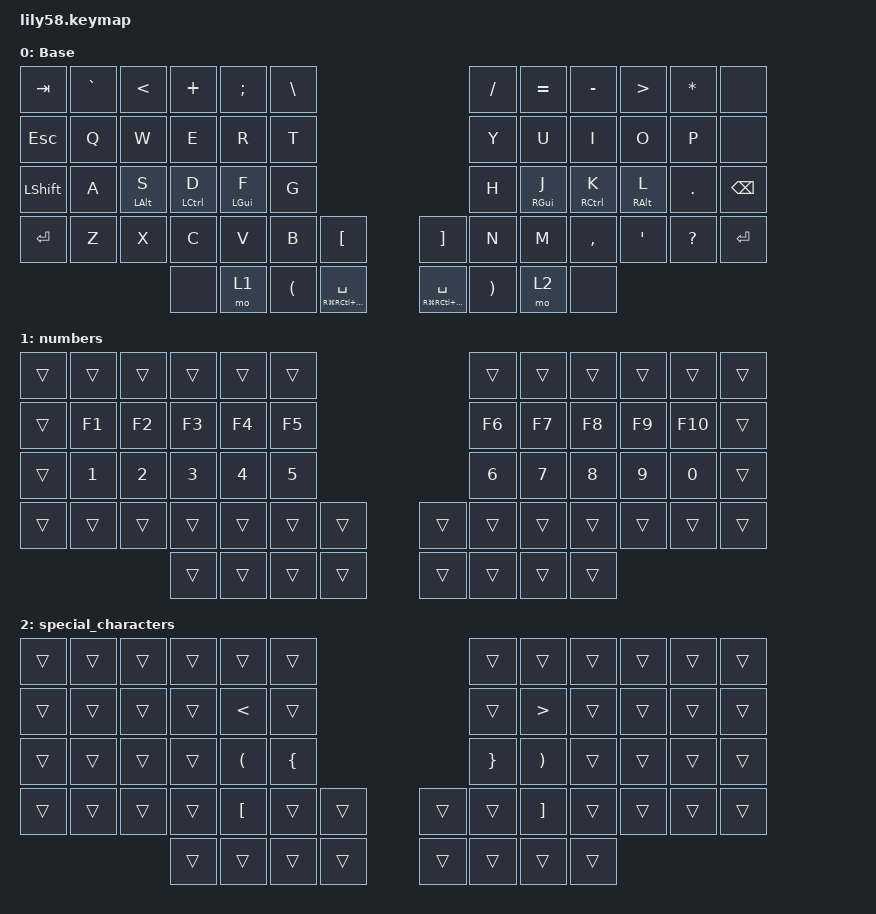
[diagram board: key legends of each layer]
/*
 * Copyright (c) 2020 The ZMK Contributors
 *
 * SPDX-License-Identifier: MIT
 */

#include <behaviors.dtsi>
#include <dt-bindings/zmk/keys.h>

/ {
    combos { compatible = "zmk,combos"; };

    behaviors {
        lpht: lpht {
            compatible = "zmk,behavior-hold-tap";
            label = "LPHT";
            bindings = <&kp>, <&kp>;

            #binding-cells = <2>;
            tapping-term-ms = <200>;
            flavor = "tap-preferred";
            retro-tap;
            hold-trigger-key-positions = <30 31 33 34 35 43 44 45 46 47 48 49 54 55 56 57 6 7 8 9 10 11 18 19 20 21 22 23 30 31 32 33 34 35 43 44 45 46 47 48 49 54 55 56 57>;
        };

        rpht: rpht {
            compatible = "zmk,behavior-hold-tap";
            label = "RPHT";
            bindings = <&kp>, <&kp>;

            #binding-cells = <2>;
            tapping-term-ms = <200>;
            flavor = "tap-preferred";
            retro-tap;
            hold-trigger-key-positions = <0 1 2 3 4 5 12 13 14 15 16 17 24 25 26 27 28 29 36 37 38 39 40 41 42 50 51 52 53>;
        };

        meh: meh {
            compatible = "zmk,behavior-hold-tap";
            label = "MEH";
            bindings = <&kp>, <&kp>;

            #binding-cells = <2>;
            tapping-term-ms = <200>;
            hold-trigger-key-positions = <28 27 26 25 13 14 15 16 29 17 18 30 19 20 21 34 22 33 32 31>;
            flavor = "tap-unless-interrupted";
            retro-tap;
        };
    };

    keymap {
        compatible = "zmk,keymap";

        default_layer {
            // ------------------------------------------------------------------------------------------------------------
            // |  ESC  |  1  |  2  |  3   |  4   |  5   |                   |  6   |  7    |  8    |  9   |   0   |   `   |
            // |  TAB  |  Q  |  W  |  E   |  R   |  T   |                   |  Y   |  U    |  I    |  O   |   P   |   -   |
            // |  CTRL |  A  |  S  |  D   |  F   |  G   |                   |  H   |  J    |  K    |  L   |   ;   |   '   |
            // | SHIFT |  Z  |  X  |  C   |  V   |  B   |   "["  |  |  "]"  |  N   |  M    |  ,    |  .   |   /   | SHIFT |
            //                     | ALT  | GUI  | LOWER|  SPACE |  | ENTER | RAISE| BSPC  | GUI   |

            display-name = "Base";
            bindings = <
&kp TAB     &kp GRAVE  &kp LESS_THAN  &kp PLUS       &kp SEMICOLON  &kp BACKSLASH                                                                         &kp SLASH              &kp EQUAL     &kp MINUS      &kp GREATER_THAN  &kp ASTRK     &none
&kp ESC     &kp Q      &kp W          &kp E          &kp R          &kp T                                                                                 &kp Y                  &kp U         &kp I          &kp O             &kp P         &none
&kp LSHIFT  &kp A      &lpht LALT S   &lpht LCTRL D  &lpht LGUI F   &kp G                                                                                 &kp H                  &rpht RGUI J  &rpht RCTRL K  &rpht RALT L      &kp DOT       &kp BACKSPACE
&kp RET     &kp Z      &kp X          &kp C          &kp V          &kp B                 &kp LBKT                         &kp RBKT                       &kp N                  &kp M         &kp COMMA      &kp SINGLE_QUOTE  &kp QUESTION  &kp RET
                                      &none          &mo 1          &kp LEFT_PARENTHESIS  &meh RG(RC(RA(RSHIFT))) SPACE    &meh RG(RC(RA(RSHIFT))) SPACE  &kp RIGHT_PARENTHESIS  &mo 2         &none
            >;
        };

        numbers {
            bindings = <
&trans  &trans        &trans  &trans  &trans  &trans                    &trans  &trans  &trans  &trans  &trans   &trans
&trans  &kp F1        &kp F2  &kp F3  &kp F4  &kp F5                    &kp F6  &kp F7  &kp F8  &kp F9  &kp F10  &trans
&trans  &kp NUMBER_1  &kp N2  &kp N3  &kp N4  &kp N5                    &kp N6  &kp N7  &kp N8  &kp N9  &kp N0   &trans
&trans  &trans        &trans  &trans  &trans  &trans  &trans    &trans  &trans  &trans  &trans  &trans  &trans   &trans
                              &trans  &trans  &trans  &trans    &trans  &trans  &trans  &trans
            >;
        };

        special_characters {
            bindings = <
&trans  &trans  &trans  &trans  &trans                &trans                            &trans           &trans                 &trans  &trans  &trans  &trans
&trans  &trans  &trans  &trans  &kp LESS_THAN         &trans                            &trans           &kp GREATER_THAN       &trans  &trans  &trans  &trans
&trans  &trans  &trans  &trans  &kp LEFT_PARENTHESIS  &kp LEFT_BRACE                    &kp RIGHT_BRACE  &kp RIGHT_PARENTHESIS  &trans  &trans  &trans  &trans
&trans  &trans  &trans  &trans  &kp LEFT_BRACKET      &trans          &trans    &trans  &trans           &kp RIGHT_BRACKET      &trans  &trans  &trans  &trans
                        &trans  &trans                &trans          &trans    &trans  &trans           &trans                 &trans
            >;
        };
    };
};
